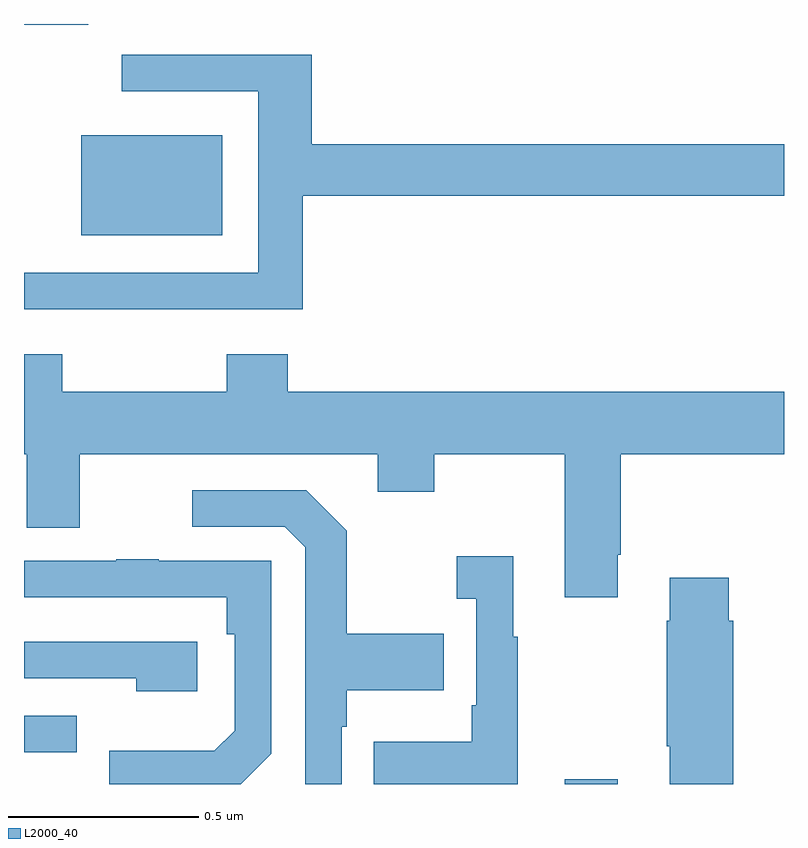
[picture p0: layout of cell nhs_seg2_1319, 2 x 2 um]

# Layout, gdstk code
import gdstk
lib = gdstk.Library(unit=1e-6, precision=1e-09)
def R(c, l, rs):  # rectangles x0, y0, x1, y1
    for r in rs: c.add(gdstk.rectangle(r[:2], r[2:], *l))
def P(c, l, *ps):  # polygons
    for p in ps: c.add(gdstk.Polygon(p, *l))
L2000_40 = (2000, 40)

nhs_seg2_1319 = lib.new_cell('nhs_seg2_1319')
R(nhs_seg2_1319, L2000_40, [(128.423,614.8,128.563,614.812), (127,614.883,127.139,614.979), (127.151,616.244,127.522,616.507), (127,616.798,127.169,616.8)])
P(nhs_seg2_1319, L2000_40, [(127.445,616.05),(127.733,616.05),(127.733,616.348),(129,616.348),(129,616.484),(127.757,616.484),(127.757,616.719),(127.257,616.719),(127.257,616.623),(127.617,616.623),(127.617,616.146),(127,616.146),(127,616.05),(127.189,616.05),(127.189,616.049),(127.445,616.049)],
  [(128.563,615.403),(128.571,615.403),(128.571,615.668),(129,615.668),(129,615.832),(127.694,615.832),(127.694,615.931),(127.534,615.931),(127.534,615.832),(127.101,615.832),(127.101,615.931),(127,615.931),(127,615.668),(127.007,615.668),(127.007,615.474),(127.147,615.474),(127.147,615.668),(127.931,615.668),(127.931,615.569),(128.079,615.569),(128.079,615.668),(128.423,615.668),(128.423,615.291),(128.563,615.291)],
  [(127.836,614.951),(127.849,614.951),(127.849,615.047),(128.105,615.047),(128.105,615.195),(127.849,615.195),(127.849,615.467),(127.743,615.573),(127.443,615.573),(127.443,615.477),(127.686,615.477),(127.74,615.423),(127.74,614.8),(127.836,614.8)],
  [(128.299,615.187),(128.287,615.187),(128.287,615.4),(128.139,615.4),(128.139,615.287),(128.19,615.287),(128.19,615.007),(128.178,615.007),(128.178,614.911),(127.921,614.911),(127.921,614.8),(128.299,614.8)],
  [(127.65,614.88),(127.65,615.387),(127.355,615.387),(127.355,615.392),(127.243,615.392),(127.243,615.387),(127,615.387),(127,615.291),(127.534,615.291),(127.534,615.194),(127.554,615.194),(127.554,614.94),(127.501,614.887),(127.224,614.887),(127.224,614.8),(127.57,614.8)],
  [(128.867,615.23),(128.854,615.23),(128.854,615.343),(128.699,615.343),(128.699,615.23),(128.692,615.23),(128.692,614.899),(128.699,614.899),(128.699,614.8),(128.867,614.8)],
  [(127.456,615.174),(127,615.174),(127,615.078),(127.295,615.078),(127.295,615.044),(127.456,615.044)])

lib.write_gds('nhs_seg2_1319.gds')
